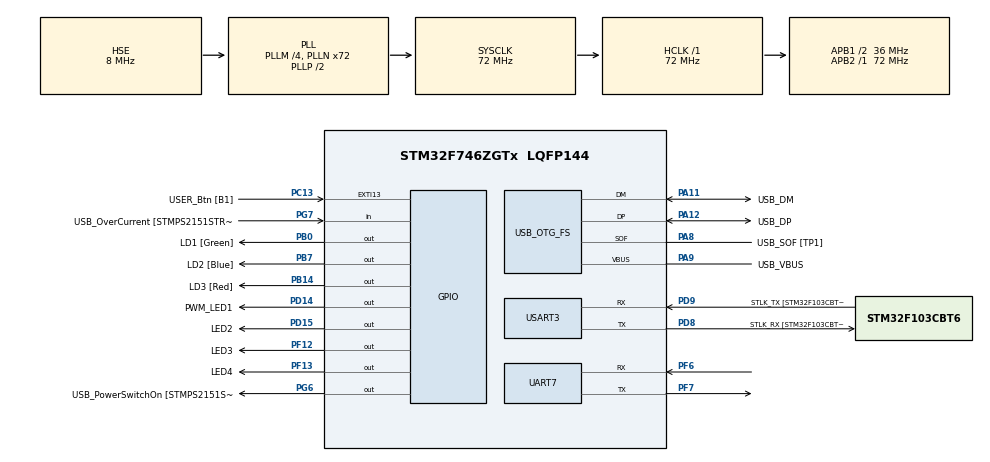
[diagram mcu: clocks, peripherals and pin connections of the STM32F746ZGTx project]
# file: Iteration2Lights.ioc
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Mcu.Family=STM32F7
Mcu.Name=STM32F746ZGTx
Mcu.Package=LQFP144
NVIC.PriorityGroup=NVIC_PRIORITYGROUP_4
PA1.GPIO_Label=RMII_REF_CLK [LAN8742A-CZ-TR_REFCLK0]
PA1.Signal=ETH_REF_CLK
PA10.GPIO_Label=USB_ID
PA10.Signal=USB_OTG_FS_ID
PA11.GPIO_Label=USB_DM
PA11.Mode=Device_Only
PA11.Signal=USB_OTG_FS_DM
PA12.GPIO_Label=USB_DP
PA12.Mode=Device_Only
PA12.Signal=USB_OTG_FS_DP
PA13.GPIO_Label=TMS
PA13.Mode=Serial_Wire
PA13.Signal=SYS_JTMS-SWDIO
PA14.GPIO_Label=TCK
PA14.Mode=Serial_Wire
PA14.Signal=SYS_JTCK-SWCLK
PA2.GPIO_Label=RMII_MDIO [LAN8742A-CZ-TR_MDIO]
PA2.Signal=ETH_MDIO
PA7.GPIO_Label=RMII_CRS_DV [LAN8742A-CZ-TR_CRS_DV]
PA7.Signal=ETH_CRS_DV
PA8.GPIO_Label=USB_SOF [TP1]
PA8.Mode=Activate_SOF_FS
PA8.Signal=USB_OTG_FS_SOF
PA9.GPIO_Label=USB_VBUS
PA9.Mode=Activate_VBUS
PA9.Signal=USB_OTG_FS_VBUS
PB0.GPIO_Label=LD1 [Green]
PB0.Signal=GPIO_Output
PB13.GPIO_Label=RMII_TXD1 [LAN8742A-CZ-TR_TXD1]
PB13.Signal=ETH_TXD1
PB14.GPIO_Label=LD3 [Red]
PB14.Signal=GPIO_Output
PB3.GPIO_Label=SW0
PB3.Signal=SYS_JTDO-SWO
PB7.GPIO_Label=LD2 [Blue]
PB7.Signal=GPIO_Output
PC1.GPIO_Label=RMII_MDC [LAN8742A-CZ-TR_MDC]
PC1.Signal=ETH_MDC
PC13.GPIO_Label=USER_Btn [B1]
PC13.Signal=GPXTI13
PC14/OSC32_IN.Mode=LSE-External-Oscillator
PC14/OSC32_IN.Signal=RCC_OSC32_IN
PC15/OSC32_OUT.Mode=LSE-External-Oscillator
PC15/OSC32_OUT.Signal=RCC_OSC32_OUT
PC4.GPIO_Label=RMII_RXD0 [LAN8742A-CZ-TR_RXD0]
PC4.Signal=ETH_RXD0
PC5.GPIO_Label=RMII_RXD1 [LAN8742A-CZ-TR_RXD1]
PC5.Signal=ETH_RXD1
PD14.GPIO_Label=PWM_LED1
PD14.PinState=GPIO_PIN_SET
PD14.Signal=GPIO_Output
PD15.GPIO_Label=LED2
PD15.PinState=GPIO_PIN_SET
PD15.Signal=GPIO_Output
PD8.GPIO_Label=STLK_RX [STM32F103CBT6_PA3]
PD8.Mode=Asynchronous
PD8.Signal=USART3_TX
PD9.GPIO_Label=STLK_TX [STM32F103CBT6_PA2]
PD9.Mode=Asynchronous
PD9.Signal=USART3_RX
PF12.GPIO_Label=LED3
PF12.PinState=GPIO_PIN_SET
PF12.Signal=GPIO_Output
PF13.GPIO_Label=LED4
PF13.PinState=GPIO_PIN_SET
PF13.Signal=GPIO_Output
PF6.Mode=Asynchronous
PF6.Signal=UART7_RX
PF7.Mode=Asynchronous
PF7.Signal=UART7_TX
PG11.GPIO_Label=RMII_TX_EN [LAN8742A-CZ-TR_TXEN]
PG11.Signal=ETH_TX_EN
PG13.GPIO_Label=RMII_TXD0 [LAN8742A-CZ-TR_TXD0]
PG13.Signal=ETH_TXD0
PG6.GPIO_Label=USB_PowerSwitchOn [STMPS2151STR_EN]
PG6.Signal=GPIO_Output
PG7.GPIO_Label=USB_OverCurrent [STMPS2151STR_FAULT]
PG7.Signal=GPIO_Input
PH0/OSC_IN.GPIO_Label=MCO [STM32F103CBT6_PA8]
PH0/OSC_IN.Mode=HSE-External-Clock-Source
PH0/OSC_IN.Signal=RCC_OSC_IN
PH1/OSC_OUT.Mode=HSE-External-Clock-Source
PH1/OSC_OUT.Signal=RCC_OSC_OUT
ProjectManager.HeapSize=0x200
ProjectManager.StackSize=0x400
ProjectManager.TargetToolchain=STM32CubeIDE
RCC.48MHZClocksFreq_Value=24000000
RCC.AHBFreq_Value=72000000
RCC.APB1CLKDivider=RCC_HCLK_DIV2
RCC.APB1Freq_Value=36000000
RCC.APB1TimFreq_Value=72000000
RCC.APB2Freq_Value=72000000
RCC.APB2TimFreq_Value=72000000
RCC.CortexFreq_Value=72000000
RCC.HCLKFreq_Value=72000000
RCC.HSE_VALUE=8000000
RCC.HSI_VALUE=16000000
RCC.PLLM=4
RCC.PLLMUL=RCC_PLL_MUL9
RCC.PLLN=72
RCC.PLLQ=3
RCC.PRESCALERUSB=RCC_USBCLKSOURCE_PLL_DIV1_5
RCC.SYSCLKFreq_VALUE=72000000
RCC.SYSCLKSource=RCC_SYSCLKSOURCE_PLLCLK
RCC.SYSCLKSourceVirtual=RCC_SYSCLKSOURCE_PLLCLK
RCC.USBFreq_Value=48000000
RCC.VCOOutputFreq_Value=144000000
USART3.VirtualMode-Asynchronous=VM_ASYNC
USB_OTG_FS.VirtualMode=Device_Only
board=NUCLEO-F746ZG

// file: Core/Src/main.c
/* USER CODE BEGIN Header */
/**
  ******************************************************************************
  * @file           : main.c
  * @brief          : Main program body
  ******************************************************************************
  * @attention
  *
  * <h2><center>&copy; Copyright (c) 2022 STMicroelectronics.
  * All rights reserved.</center></h2>
  *
  * This software component is licensed by ST under BSD 3-Clause license,
  * the "License"; You may not use this file except in compliance with the
  * License. You may obtain a copy of the License at:
  *                        opensource.org/licenses/BSD-3-Clause
  *
  ******************************************************************************
  */
/* USER CODE END Header */
#include "main.h"
#include "usart.h"
#include "usb_otg.h"
#include "gpio.h"

void SystemClock_Config(void);

int main(void)
{

  /* MCU Configuration--------------------------------------------------------*/

  /* Reset of all peripherals, Initializes the Flash interface and the Systick. */
  HAL_Init();

  /* Configure the system clock */
  SystemClock_Config();

  /* Initialize all configured peripherals */
  MX_GPIO_Init();
  MX_USART3_UART_Init();
  MX_USB_OTG_FS_PCD_Init();
  MX_UART7_Init();

  /* Infinite loop */
  /* USER CODE BEGIN WHILE */
  while (1)
  {

	  HAL_GPIO_WritePin(PWM_LED1_GPIO_Port, PWM_LED1_Pin, GPIO_PIN_SET);
	  HAL_Delay(400);
	  HAL_GPIO_WritePin(PWM_LED1_GPIO_Port, PWM_LED1_Pin, GPIO_PIN_RESET);
	  HAL_GPIO_WritePin(LED2_GPIO_Port, LED2_Pin, GPIO_PIN_SET);
	  HAL_Delay(400);
	  HAL_GPIO_WritePin(LED2_GPIO_Port, LED2_Pin, GPIO_PIN_RESET);
	  HAL_GPIO_WritePin(LED3_GPIO_Port, LED3_Pin, GPIO_PIN_SET);
	  HAL_Delay(400);
	  HAL_GPIO_WritePin(LED3_GPIO_Port, LED3_Pin, GPIO_PIN_RESET);
	  HAL_GPIO_WritePin(LED4_GPIO_Port, LED4_Pin, GPIO_PIN_SET);
	  HAL_Delay(400);
	  HAL_GPIO_WritePin(LED4_GPIO_Port, LED4_Pin, GPIO_PIN_RESET);

	  HAL_GPIO_WritePin(LED3_GPIO_Port, LED3_Pin, GPIO_PIN_SET);
	  HAL_Delay(400);
	  HAL_GPIO_WritePin(LED3_GPIO_Port, LED3_Pin, GPIO_PIN_RESET);
	  HAL_GPIO_WritePin(LED2_GPIO_Port, LED2_Pin, GPIO_PIN_SET);
	  HAL_Delay(400);
	  HAL_GPIO_WritePin(LED2_GPIO_Port, LED2_Pin, GPIO_PIN_RESET);

	  HAL_GPIO_WritePin(PWM_LED1_GPIO_Port, PWM_LED1_Pin, GPIO_PIN_SET);
	  HAL_Delay(400);
	  HAL_GPIO_WritePin(PWM_LED1_GPIO_Port, PWM_LED1_Pin, GPIO_PIN_RESET);
    /* USER CODE END WHILE */

  }
}

void SystemClock_Config(void)
{
  RCC_OscInitTypeDef RCC_OscInitStruct = {0};
  RCC_ClkInitTypeDef RCC_ClkInitStruct = {0};
  RCC_PeriphCLKInitTypeDef PeriphClkInitStruct = {0};

  /** Configure LSE Drive Capability
  */
  HAL_PWR_EnableBkUpAccess();
  /** Configure the main internal regulator output voltage
  */
  __HAL_RCC_PWR_CLK_ENABLE();
  __HAL_PWR_VOLTAGESCALING_CONFIG(PWR_REGULATOR_VOLTAGE_SCALE3);
  /** Initializes the RCC Oscillators according to the specified parameters
  * in the RCC_OscInitTypeDef structure.
  */
  RCC_OscInitStruct.OscillatorType = RCC_OSCILLATORTYPE_HSE;
  RCC_OscInitStruct.HSEState = RCC_HSE_BYPASS;
  RCC_OscInitStruct.PLL.PLLState = RCC_PLL_ON;
  RCC_OscInitStruct.PLL.PLLSource = RCC_PLLSOURCE_HSE;
  RCC_OscInitStruct.PLL.PLLM = 4;
  RCC_OscInitStruct.PLL.PLLN = 72;
  RCC_OscInitStruct.PLL.PLLP = RCC_PLLP_DIV2;
  RCC_OscInitStruct.PLL.PLLQ = 3;
  if (HAL_RCC_OscConfig(&RCC_OscInitStruct) != HAL_OK)
  {
    Error_Handler();
  }
  /** Initializes the CPU, AHB and APB buses clocks
  */
  RCC_ClkInitStruct.ClockType = RCC_CLOCKTYPE_HCLK|RCC_CLOCKTYPE_SYSCLK
                              |RCC_CLOCKTYPE_PCLK1|RCC_CLOCKTYPE_PCLK2;
  RCC_ClkInitStruct.SYSCLKSource = RCC_SYSCLKSOURCE_PLLCLK;
  RCC_ClkInitStruct.AHBCLKDivider = RCC_SYSCLK_DIV1;
  RCC_ClkInitStruct.APB1CLKDivider = RCC_HCLK_DIV2;
  RCC_ClkInitStruct.APB2CLKDivider = RCC_HCLK_DIV1;

  if (HAL_RCC_ClockConfig(&RCC_ClkInitStruct, FLASH_LATENCY_2) != HAL_OK)
  {
    Error_Handler();
  }
  PeriphClkInitStruct.PeriphClockSelection = RCC_PERIPHCLK_USART3|RCC_PERIPHCLK_UART7
                              |RCC_PERIPHCLK_CLK48;
  PeriphClkInitStruct.Usart3ClockSelection = RCC_USART3CLKSOURCE_PCLK1;
  PeriphClkInitStruct.Uart7ClockSelection = RCC_UART7CLKSOURCE_PCLK1;
  PeriphClkInitStruct.Clk48ClockSelection = RCC_CLK48SOURCE_PLL;
  if (HAL_RCCEx_PeriphCLKConfig(&PeriphClkInitStruct) != HAL_OK)
  {
    Error_Handler();
  }
}

void Error_Handler(void)
{
  __disable_irq();
  while (1)
  {
  }
}

/************************ (C) COPYRIGHT STMicroelectronics *****END OF FILE****/
